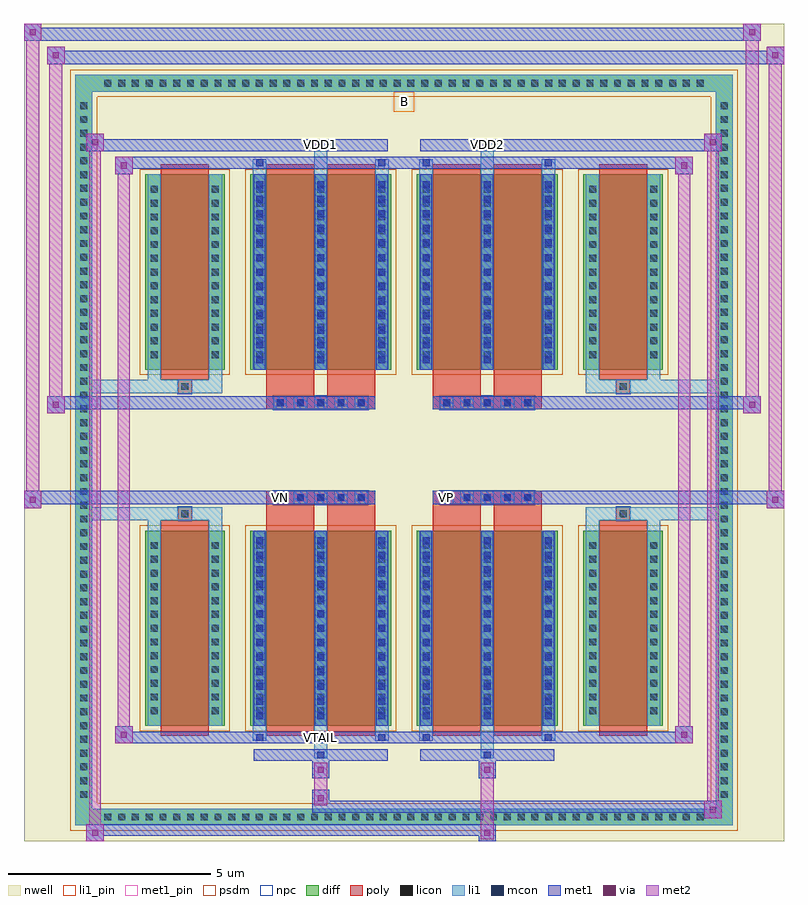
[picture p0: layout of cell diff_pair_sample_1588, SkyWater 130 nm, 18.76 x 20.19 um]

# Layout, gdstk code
import gdstk
lib = gdstk.Library(unit=1e-6, precision=5e-09)
def R(c, l, rs):  # rectangles x0, y0, x1, y1
    for r in rs: c.add(gdstk.rectangle(r[:2], r[2:], *l))
def A(c, l, x, y, w, h, nx, ny, dx, dy):  # array of equal rectangles
    R(c, l, [(x+i*dx, y+j*dy, x+i*dx+w, y+j*dy+h) for i in range(nx) for j in range(ny)])
def P(c, l, *ps):  # polygons
    for p in ps: c.add(gdstk.Polygon(p, *l))
nwell = (64, 20)
diff = (65, 20)
poly = (66, 20)
licon = (66, 44)
li1_pin = (67, 16)
li1 = (67, 20)
mcon = (67, 44)
met1_pin = (68, 16)
met1 = (68, 20)
via = (68, 44)
met2 = (69, 20)
psdm = (94, 20)
npc = (95, 20)

diff_pair_sample_1588 = lib.new_cell('diff_pair_sample_1588')
R(diff_pair_sample_1588, nwell, [(-9.38,-9.66,9.38,10.53), (-6.7,-7.85,-0.01,-0.805), (0.01,-7.85,6.7,-0.805), (-6.7,0.805,-0.01,7.85), (0.01,0.805,6.7,7.85)])
A(diff_pair_sample_1588, diff, -7.515, -9.26, 0.41, 0.41, 44, 2, 0.34, 18.11)
A(diff_pair_sample_1588, diff, -8.11, -8.705, 0.41, 0.41, 1, 51, 0, 0.34)
A(diff_pair_sample_1588, diff, 7.7, -8.705, 0.41, 0.41, 1, 51, 0, 0.34)
R(diff_pair_sample_1588, diff, [(-7.515,-9.26,7.515,-8.85), (-8.11,-8.705,-7.7,8.705), (7.7,-8.705,8.11,8.705), (-6.39,-6.805,-4.43,-1.985), (-3.79,-6.805,-0.32,-1.985), (0.32,-6.805,3.79,-1.985), (4.43,-6.805,6.39,-1.985), (-6.39,1.985,-4.43,6.805), (-3.79,1.985,-0.32,6.805), (0.32,1.985,3.79,6.805), (4.43,1.985,6.39,6.805), (-7.515,8.85,7.515,9.26)])
P(diff_pair_sample_1588, diff, [(8.11,9.26),(-8.11,9.26),(-8.11,-8.85),(-7.7,-8.85),(-7.7,8.85),(7.7,8.85),(7.7,-8.85),(-7.7,-8.85),(-8.11,-8.85),(-8.11,-9.26),(8.11,-9.26)])
A(diff_pair_sample_1588, poly, -3.22, -1.335, 0.33, 0.33, 5, 2, 0.5, 2.34)
A(diff_pair_sample_1588, poly, 0.89, -1.335, 0.33, 0.33, 5, 2, 0.5, 2.34)
R(diff_pair_sample_1588, poly, [(-6,-7.055,-4.82,-1.735), (-3.4,-7.055,-2.22,-1.735), (-1.89,-7.055,-0.71,-1.735), (0.71,-7.055,1.89,-1.735), (2.22,-7.055,3.4,-1.735), (4.82,-7.055,6,-1.735), (-5.575,-1.735,-5.245,-1.405), (-5.575,-1.735,-5.245,-1.405), (-3.4,-1.735,-2.22,-1.335), (-1.89,-1.735,-0.71,-1.335), (0.71,-1.735,1.89,-1.335), (2.22,-1.735,3.4,-1.335), (5.245,-1.735,5.575,-1.405), (5.245,-1.735,5.575,-1.405), (-3.4,-1.335,-0.71,-1.005), (0.71,-1.335,3.4,-1.005), (-3.4,1.005,-0.71,1.335), (0.71,1.005,3.4,1.335), (-3.4,1.335,-2.22,1.735), (-1.89,1.335,-0.71,1.735), (0.71,1.335,1.89,1.735), (2.22,1.335,3.4,1.735), (-5.575,1.405,-5.245,1.735), (-5.575,1.405,-5.245,1.735), (5.245,1.405,5.575,1.735), (5.245,1.405,5.575,1.735), (-6,1.735,-4.82,7.055), (-3.4,1.735,-2.22,7.055), (-1.89,1.735,-0.71,7.055), (0.71,1.735,1.89,7.055), (2.22,1.735,3.4,7.055), (4.82,1.735,6,7.055)])
A(diff_pair_sample_1588, licon, -7.395, -9.14, 0.17, 0.17, 44, 2, 0.34, 18.11)
A(diff_pair_sample_1588, licon, -7.99, -8.585, 0.17, 0.17, 1, 51, 0, 0.34)
A(diff_pair_sample_1588, licon, 7.82, -8.585, 0.17, 0.17, 1, 51, 0, 0.34)
A(diff_pair_sample_1588, licon, -6.25, -6.52, 0.17, 0.17, 1, 13, 0, 0.34)
A(diff_pair_sample_1588, licon, -4.74, -6.52, 0.17, 0.17, 1, 13, 0, 0.34)
A(diff_pair_sample_1588, licon, -3.65, -6.52, 0.17, 0.17, 3, 13, 1.51, 0.34)
A(diff_pair_sample_1588, licon, 0.46, -6.52, 0.17, 0.17, 3, 13, 1.51, 0.34)
A(diff_pair_sample_1588, licon, 4.57, -6.52, 0.17, 0.17, 1, 13, 0, 0.34)
A(diff_pair_sample_1588, licon, 6.08, -6.52, 0.17, 0.17, 1, 13, 0, 0.34)
A(diff_pair_sample_1588, licon, -3.14, -1.255, 0.17, 0.17, 5, 2, 0.5, 2.34)
A(diff_pair_sample_1588, licon, 0.97, -1.255, 0.17, 0.17, 5, 2, 0.5, 2.34)
A(diff_pair_sample_1588, licon, -6.25, 2.27, 0.17, 0.17, 1, 13, 0, 0.34)
A(diff_pair_sample_1588, licon, -4.74, 2.27, 0.17, 0.17, 1, 13, 0, 0.34)
A(diff_pair_sample_1588, licon, -3.65, 2.27, 0.17, 0.17, 3, 13, 1.51, 0.34)
A(diff_pair_sample_1588, licon, 0.46, 2.27, 0.17, 0.17, 3, 13, 1.51, 0.34)
A(diff_pair_sample_1588, licon, 4.57, 2.27, 0.17, 0.17, 1, 13, 0, 0.34)
A(diff_pair_sample_1588, licon, 6.08, 2.27, 0.17, 0.17, 1, 13, 0, 0.34)
R(diff_pair_sample_1588, licon, [(-5.495,-1.655,-5.325,-1.485), (5.325,-1.655,5.495,-1.485), (-5.495,1.485,-5.325,1.655), (5.325,1.485,5.495,1.655)])
R(diff_pair_sample_1588, li1_pin, [(-0.25,8.35,0.25,8.85)])
A(diff_pair_sample_1588, li1, -7.475, -9.22, 0.33, 0.33, 44, 2, 0.34, 18.11)
A(diff_pair_sample_1588, li1, -8.07, -8.665, 0.33, 0.33, 1, 51, 0, 0.34)
A(diff_pair_sample_1588, li1, 7.74, -8.665, 0.33, 0.33, 1, 51, 0, 0.34)
A(diff_pair_sample_1588, li1, -3.73, -6.805, 0.33, 4.82, 3, 2, 1.51, 8.79)
A(diff_pair_sample_1588, li1, 0.38, -6.805, 0.33, 4.82, 3, 2, 1.51, 8.79)
A(diff_pair_sample_1588, li1, -3.65, -6.64, 0.17, 0.17, 3, 13, 1.51, 0.36)
A(diff_pair_sample_1588, li1, -3.65, -6.64, 0.17, 4.49, 3, 2, 1.51, 8.79)
A(diff_pair_sample_1588, li1, 0.46, -6.64, 0.17, 0.17, 3, 13, 1.51, 0.36)
A(diff_pair_sample_1588, li1, 0.46, -6.64, 0.17, 4.49, 3, 2, 1.51, 8.79)
A(diff_pair_sample_1588, li1, -6.33, -6.6, 0.33, 0.33, 1, 13, 0, 0.34)
A(diff_pair_sample_1588, li1, -4.82, -6.6, 0.33, 0.33, 1, 13, 0, 0.34)
A(diff_pair_sample_1588, li1, -3.73, -6.6, 0.33, 0.33, 3, 13, 1.51, 0.34)
A(diff_pair_sample_1588, li1, 0.38, -6.6, 0.33, 0.33, 3, 13, 1.51, 0.34)
A(diff_pair_sample_1588, li1, 4.49, -6.6, 0.33, 0.33, 1, 13, 0, 0.34)
A(diff_pair_sample_1588, li1, 6, -6.6, 0.33, 0.33, 1, 13, 0, 0.34)
A(diff_pair_sample_1588, li1, -3.22, -1.335, 0.33, 0.33, 5, 2, 0.5, 2.34)
A(diff_pair_sample_1588, li1, 0.89, -1.335, 0.33, 0.33, 5, 2, 0.5, 2.34)
A(diff_pair_sample_1588, li1, -3.65, 2.15, 0.17, 0.17, 3, 13, 1.51, 0.36)
A(diff_pair_sample_1588, li1, 0.46, 2.15, 0.17, 0.17, 3, 13, 1.51, 0.36)
A(diff_pair_sample_1588, li1, -6.33, 2.19, 0.33, 0.33, 1, 13, 0, 0.34)
A(diff_pair_sample_1588, li1, -4.82, 2.19, 0.33, 0.33, 1, 13, 0, 0.34)
A(diff_pair_sample_1588, li1, -3.73, 2.19, 0.33, 0.33, 3, 13, 1.51, 0.34)
A(diff_pair_sample_1588, li1, 0.38, 2.19, 0.33, 0.33, 3, 13, 1.51, 0.34)
A(diff_pair_sample_1588, li1, 4.49, 2.19, 0.33, 0.33, 1, 13, 0, 0.34)
A(diff_pair_sample_1588, li1, 6, 2.19, 0.33, 0.33, 1, 13, 0, 0.34)
R(diff_pair_sample_1588, li1, [(-8.11,-9.26,-7.7,-8.85), (-8.11,-9.26,-7.7,-8.85), (-7.7,-9.26,7.7,-8.85), (7.7,-9.26,8.11,-8.85), (7.7,-9.26,8.11,-8.85), (-8.11,-8.85,-7.7,8.85), (7.7,-8.85,8.11,8.85), (-2.22,-7.61,-1.89,-6.805), (-2.14,-7.61,-1.97,-7.44), (1.89,-7.61,2.22,-6.805), (1.97,-7.61,2.14,-7.44), (-3.73,-7.18,-3.4,-6.805), (-3.65,-7.18,-3.48,-7.01), (-0.71,-7.18,-0.38,-6.805), (-0.63,-7.18,-0.46,-7.01), (0.38,-7.18,0.71,-6.805), (0.46,-7.18,0.63,-7.01), (3.4,-7.18,3.73,-6.805), (3.48,-7.18,3.65,-7.01), (-6.33,-6.805,-6,-1.985), (-4.82,-6.805,-4.49,-1.985), (4.49,-6.805,4.82,-1.985), (6,-6.805,6.33,-1.985), (-6.33,-1.985,-6,-1.405), (-4.82,-1.985,-4.49,-1.405), (4.49,-1.985,4.82,-1.405), (6,-1.985,6.33,-1.405), (-8.11,-1.735,-5.575,-1.405), (-6.33,-1.735,-5.575,-1.405), (-5.575,-1.735,-5.245,-1.405), (-5.245,-1.735,-4.49,-1.405), (4.49,-1.735,5.245,-1.405), (5.245,-1.735,5.575,-1.405), (5.245,-1.735,8.11,-1.405), (5.575,-1.735,6.33,-1.405), (-8.11,1.405,-5.575,1.735), (-6.33,1.405,-5.575,1.735), (-6.33,1.405,-6,1.985), (-5.575,1.405,-5.245,1.735), (-5.245,1.405,-4.49,1.735), (-4.82,1.405,-4.49,1.985), (4.49,1.405,5.245,1.735), (4.49,1.405,4.82,1.985), (5.245,1.405,5.575,1.735), (5.245,1.405,8.11,1.735), (5.575,1.405,6.33,1.735), (6,1.405,6.33,1.985), (-6.33,1.985,-6,6.805), (-4.82,1.985,-4.49,6.805), (4.49,1.985,4.82,6.805), (6,1.985,6.33,6.805), (-3.73,6.805,-3.4,7.18), (-2.22,6.805,-1.89,7.61), (-0.71,6.805,-0.38,7.18), (0.38,6.805,0.71,7.18), (1.89,6.805,2.22,7.61), (3.4,6.805,3.73,7.18), (-3.65,7.01,-3.48,7.18), (-0.63,7.01,-0.46,7.18), (0.46,7.01,0.63,7.18), (3.48,7.01,3.65,7.18), (-2.14,7.44,-1.97,7.61), (1.97,7.44,2.14,7.61), (-8.11,8.85,-7.7,9.26), (-8.11,8.85,-7.7,9.26), (-7.7,8.85,7.7,9.26), (7.7,8.85,8.11,9.26), (7.7,8.85,8.11,9.26)])
A(diff_pair_sample_1588, mcon, -3.65, -6.64, 0.17, 0.17, 3, 13, 1.51, 0.36)
A(diff_pair_sample_1588, mcon, 0.46, -6.64, 0.17, 0.17, 3, 13, 1.51, 0.36)
A(diff_pair_sample_1588, mcon, -3.14, -1.255, 0.17, 0.17, 5, 2, 0.5, 2.34)
A(diff_pair_sample_1588, mcon, 0.97, -1.255, 0.17, 0.17, 5, 2, 0.5, 2.34)
A(diff_pair_sample_1588, mcon, -3.65, 2.15, 0.17, 0.17, 3, 13, 1.51, 0.36)
A(diff_pair_sample_1588, mcon, 0.46, 2.15, 0.17, 0.17, 3, 13, 1.51, 0.36)
R(diff_pair_sample_1588, mcon, [(-2.14,-7.61,-1.97,-7.44), (1.97,-7.61,2.14,-7.44), (-3.65,-7.18,-3.48,-7.01), (-0.63,-7.18,-0.46,-7.01), (0.46,-7.18,0.63,-7.01), (3.48,-7.18,3.65,-7.01), (-3.65,7.01,-3.48,7.18), (-0.63,7.01,-0.46,7.18), (0.46,7.01,0.63,7.18), (3.48,7.01,3.65,7.18), (-2.14,7.44,-1.97,7.61), (1.97,7.44,2.14,7.61)])
R(diff_pair_sample_1588, met1_pin, [(-2.19,-7.22,-1.92,-6.95), (-3.19,-1.295,-2.92,-1.025), (0.92,-1.295,1.19,-1.025), (-2.19,7.4,-1.92,7.67), (1.92,7.4,2.19,7.67)])
A(diff_pair_sample_1588, met1, -3.71, -6.805, 0.29, 4.82, 3, 2, 1.51, 8.79)
A(diff_pair_sample_1588, met1, 0.4, -6.805, 0.29, 4.82, 3, 2, 1.51, 8.79)
A(diff_pair_sample_1588, met1, -3.71, -6.7, 0.29, 0.29, 3, 13, 1.51, 0.36)
A(diff_pair_sample_1588, met1, 0.4, -6.7, 0.29, 0.29, 3, 13, 1.51, 0.36)
A(diff_pair_sample_1588, met1, -3.2, -1.315, 0.29, 0.29, 5, 2, 0.5, 2.34)
A(diff_pair_sample_1588, met1, 0.91, -1.315, 0.29, 0.29, 5, 2, 0.5, 2.34)
A(diff_pair_sample_1588, met1, -3.71, 2.09, 0.29, 0.29, 3, 13, 1.51, 0.36)
A(diff_pair_sample_1588, met1, 0.4, 2.09, 0.29, 0.29, 3, 13, 1.51, 0.36)
R(diff_pair_sample_1588, met1, [(-7.84,-9.66,-7.41,-9.23), (1.84,-9.66,2.27,-9.23), (-7.84,-9.52,2.27,-9.23), (7.41,-9.09,7.84,-8.66), (-2.27,-8.95,7.84,-8.66), (-2.27,-8.81,-1.84,-8.38), (-2.27,-8.1,-1.84,-7.67), (1.84,-8.1,2.27,-7.67), (-3.71,-7.67,-0.4,-7.38), (-2.2,-7.67,-1.91,-7.38), (0.4,-7.67,3.71,-7.38), (1.91,-7.67,2.2,-7.38), (-7.13,-7.24,-6.7,-6.81), (-7.13,-7.24,-3.71,-6.95), (-3.71,-7.24,-3.42,-6.95), (-3.71,-7.24,-0.4,-6.95), (-0.69,-7.24,-0.4,-6.95), (-0.4,-7.24,0.4,-6.95), (0.4,-7.24,0.69,-6.95), (0.4,-7.24,3.71,-6.95), (3.42,-7.24,3.71,-6.95), (3.71,-7.24,7.13,-6.95), (6.7,-7.24,7.13,-6.81), (-9.38,-1.435,-8.95,-1.005), (8.95,-1.435,9.38,-1.005), (-9.38,-1.335,-0.71,-1.005), (-3.4,-1.335,-0.71,-1.005), (0.71,-1.335,3.4,-1.005), (0.71,-1.335,9.38,-1.005), (-8.81,0.905,-8.38,1.335), (8.38,0.905,8.81,1.335), (-8.81,1.005,-3.4,1.335), (-3.4,1.005,-0.71,1.335), (0.71,1.005,3.4,1.335), (3.4,1.005,8.81,1.335), (-7.13,6.81,-6.7,7.24), (6.7,6.81,7.13,7.24), (-7.13,6.95,-3.71,7.24), (-3.71,6.95,-3.42,7.24), (-3.71,6.95,-0.4,7.24), (-0.69,6.95,-0.4,7.24), (-0.4,6.95,0.4,7.24), (0.4,6.95,0.69,7.24), (0.4,6.95,3.71,7.24), (3.42,6.95,3.71,7.24), (3.71,6.95,7.13,7.24), (-7.84,7.38,-7.41,7.81), (-7.84,7.38,-3.71,7.67), (-3.71,7.38,-0.4,7.67), (-2.2,7.38,-1.91,7.67), (0.4,7.38,3.71,7.67), (1.91,7.38,2.2,7.67), (3.71,7.38,7.84,7.67), (7.41,7.38,7.84,7.81), (-8.81,9.53,-8.38,9.96), (-8.81,9.53,-6.7,9.86), (-6.7,9.53,6.7,9.86), (6.7,9.53,9.38,9.86), (8.95,9.53,9.38,9.96), (-9.38,10.1,-8.95,10.53), (-9.38,10.1,-6.7,10.43), (-6.7,10.1,6.7,10.43), (6.7,10.1,8.81,10.43), (8.38,10.1,8.81,10.53)])
R(diff_pair_sample_1588, via, [(-7.7,-9.52,-7.55,-9.37), (1.98,-9.52,2.13,-9.37), (7.55,-8.95,7.7,-8.8), (-2.13,-8.67,-1.98,-8.52), (-2.13,-7.96,-1.98,-7.81), (1.98,-7.96,2.13,-7.81), (-6.99,-7.1,-6.84,-6.95), (6.84,-7.1,6.99,-6.95), (-9.24,-1.295,-9.09,-1.145), (9.09,-1.295,9.24,-1.145), (-8.67,1.045,-8.52,1.195), (8.52,1.045,8.67,1.195), (-6.99,6.95,-6.84,7.1), (6.84,6.95,6.99,7.1), (-7.7,7.52,-7.55,7.67), (7.55,7.52,7.7,7.67), (-8.67,9.67,-8.52,9.82), (9.09,9.67,9.24,9.82), (-9.24,10.24,-9.09,10.39), (8.52,10.24,8.67,10.39)])
R(diff_pair_sample_1588, met2, [(-7.84,-9.66,-7.41,-9.23), (-7.77,-9.66,-7.48,7.81), (-7.48,-9.66,-7.41,-9.23), (-7.79,-9.61,-7.46,-9.28), (1.89,-9.61,2.22,-9.28), (1.89,-9.28,2.22,-8.05), (7.41,-9.09,7.84,-8.66), (7.48,-9.09,7.77,7.81), (7.77,-9.09,7.84,-8.66), (7.46,-9.04,7.79,-8.71), (-2.22,-8.76,-1.89,-8.43), (-2.22,-8.43,-1.89,-8.05), (-2.22,-8.05,-1.89,-7.72), (1.89,-8.05,2.22,-7.72), (-7.13,-7.24,-6.7,-6.81), (-7.06,-7.24,-6.77,7.24), (-6.77,-7.24,-6.7,-6.81), (6.7,-7.24,7.13,-6.81), (6.77,-7.24,7.06,7.24), (7.06,-7.24,7.13,-6.81), (-7.08,-7.19,-6.75,-6.86), (6.75,-7.19,7.08,-6.86), (-9.38,-1.435,-8.95,-1.005), (-9.33,-1.435,-9,10.53), (-9,-1.435,-8.95,-1.005), (8.95,-1.435,9.38,-1.005), (9,-1.435,9.33,9.96), (9.33,-1.435,9.38,-1.005), (-9.33,-1.385,-9,-1.055), (9,-1.385,9.33,-1.055), (-8.81,0.905,-8.38,1.335), (-8.76,0.905,-8.43,9.96), (-8.43,0.905,-8.38,1.335), (8.38,0.905,8.81,1.335), (8.43,0.905,8.76,10.53), (8.76,0.905,8.81,1.335), (-8.76,0.955,-8.43,1.285), (8.43,0.955,8.76,1.285), (-7.13,6.81,-6.7,7.24), (-6.77,6.81,-6.7,7.24), (6.7,6.81,7.13,7.24), (7.06,6.81,7.13,7.24), (-7.08,6.86,-6.75,7.19), (6.75,6.86,7.08,7.19), (-7.84,7.38,-7.41,7.81), (-7.48,7.38,-7.41,7.81), (7.41,7.38,7.84,7.81), (7.77,7.38,7.84,7.81), (-7.79,7.43,-7.46,7.76), (7.46,7.43,7.79,7.76), (-8.81,9.53,-8.38,9.96), (-8.43,9.53,-8.38,9.96), (8.95,9.53,9.38,9.96), (9.33,9.53,9.38,9.96), (-8.76,9.58,-8.43,9.91), (9,9.58,9.33,9.91), (-9.38,10.1,-8.95,10.53), (-9,10.1,-8.95,10.53), (8.38,10.1,8.81,10.53), (8.76,10.1,8.81,10.53), (-9.33,10.15,-9,10.48), (8.43,10.15,8.76,10.48)])
R(diff_pair_sample_1588, psdm, [(-6.52,-6.935,-4.3,-1.855), (-3.92,-6.935,-0.19,-1.855), (0.19,-6.935,3.92,-1.855), (4.3,-6.935,6.52,-1.855), (-6.52,1.855,-4.3,6.935), (-3.92,1.855,-0.19,6.935), (0.19,1.855,3.92,6.935), (4.3,1.855,6.52,6.935)])
P(diff_pair_sample_1588, psdm, [(8.24,9.39),(-8.24,9.39),(-8.24,-8.72),(-7.57,-8.72),(-7.57,8.72),(7.57,8.72),(7.57,-8.72),(-7.57,-8.72),(-8.24,-8.72),(-8.24,-9.39),(8.24,-9.39)])
A(diff_pair_sample_1588, npc, -3.24, -1.355, 0.37, 0.37, 5, 2, 0.5, 2.34)
A(diff_pair_sample_1588, npc, 0.87, -1.355, 0.37, 0.37, 5, 2, 0.5, 2.34)
R(diff_pair_sample_1588, npc, [(-5.595,-1.755,-5.225,-1.385), (5.225,-1.755,5.595,-1.385), (-3.24,-1.355,-2.37,-0.985), (-3.24,-1.355,-2.37,-0.985), (-2.74,-1.355,-1.87,-0.985), (-2.74,-1.355,-1.87,-0.985), (-2.24,-1.355,-1.37,-0.985), (-2.24,-1.355,-1.37,-0.985), (-1.74,-1.355,-0.87,-0.985), (-1.74,-1.355,-0.87,-0.985), (0.87,-1.355,1.74,-0.985), (0.87,-1.355,1.74,-0.985), (1.37,-1.355,2.24,-0.985), (1.37,-1.355,2.24,-0.985), (1.87,-1.355,2.74,-0.985), (1.87,-1.355,2.74,-0.985), (2.37,-1.355,3.24,-0.985), (2.37,-1.355,3.24,-0.985), (-3.24,0.985,-2.37,1.355), (-3.24,0.985,-2.37,1.355), (-2.74,0.985,-1.87,1.355), (-2.74,0.985,-1.87,1.355), (-2.24,0.985,-1.37,1.355), (-2.24,0.985,-1.37,1.355), (-1.74,0.985,-0.87,1.355), (-1.74,0.985,-0.87,1.355), (0.87,0.985,1.74,1.355), (0.87,0.985,1.74,1.355), (1.37,0.985,2.24,1.355), (1.37,0.985,2.24,1.355), (1.87,0.985,2.74,1.355), (1.87,0.985,2.74,1.355), (2.37,0.985,3.24,1.355), (2.37,0.985,3.24,1.355), (-5.595,1.385,-5.225,1.755), (5.225,1.385,5.595,1.755)])
diff_pair_sample_1588.add(gdstk.Label('VTAIL', (-2.055,-7.085), layer=68, texttype=5))
diff_pair_sample_1588.add(gdstk.Label('VN', (-3.055,-1.16), layer=68, texttype=5))
diff_pair_sample_1588.add(gdstk.Label('VP', (1.055,-1.16), layer=68, texttype=5))
diff_pair_sample_1588.add(gdstk.Label('B', (0,8.6), layer=67, texttype=5))
diff_pair_sample_1588.add(gdstk.Label('VDD2', (2.055,7.535), layer=68, texttype=5))
diff_pair_sample_1588.add(gdstk.Label('VDD1', (-2.055,7.535), layer=68, texttype=5))

lib.write_gds('diff_pair_sample_1588.gds')
